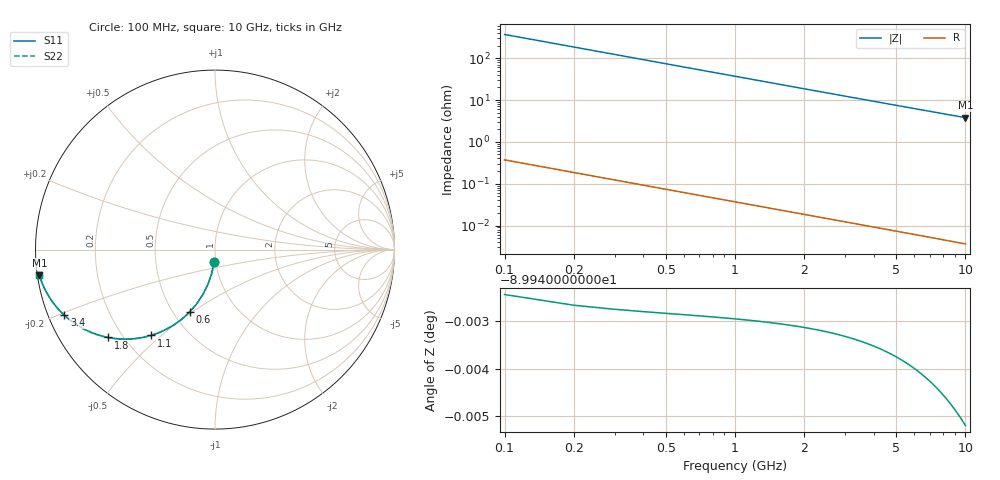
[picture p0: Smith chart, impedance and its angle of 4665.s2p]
# Hz S RI R 50.00
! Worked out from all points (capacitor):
!   100 points, 100 MHz to 10 GHz, reference 50 ohm
!   read as one part in shunt: C = 4.31 pF near 100 MHz
!   lowest |Z| = 3.79 ohm at 10 GHz (marker M1)
!   S11 on the Smith chart (normalised r, x): 100 MHz: 0.98, -0.13; 600 MHz: 0.60, -0.49; 1.1 GHz: 0.31, -0.46; 1.8 GHz: 0.15, -0.35; 3.4 GHz: 0.05, -0.21; 10 GHz: 0.01, -0.07
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1e8  -0.00463 -0.0674  0.9954 -0.0675  0.9954 -0.0675  -0.00463 -0.0674
2e8  -0.0182 -0.133  0.9818 -0.1331  0.9818 -0.1331  -0.0182 -0.133
3e8  -0.0398 -0.195  0.9602 -0.1952  0.9602 -0.1952  -0.0398 -0.195
4e8  -0.0686 -0.2522  0.9314 -0.2524  0.9314 -0.2524  -0.0686 -0.2522
5e8  -0.1031 -0.3035  0.8969 -0.3037  0.8969 -0.3037  -0.1031 -0.3035
6e8  -0.1419 -0.3483  0.8581 -0.3486  0.8581 -0.3486  -0.1419 -0.3483
7e8  -0.1836 -0.3865  0.8164 -0.3869  0.8164 -0.3869  -0.1836 -0.3865
8e8  -0.2269 -0.4181  0.7731 -0.4186  0.7731 -0.4186  -0.2269 -0.4181
9e8  -0.2707 -0.4436  0.7292 -0.4441  0.7292 -0.4441  -0.2707 -0.4436
1.1e9  -0.3564 -0.4782  0.6435 -0.4787  0.6435 -0.4787  -0.3564 -0.4782
1.4e9  -0.4724 -0.4984  0.5276 -0.4991  0.5276 -0.4991  -0.4724 -0.4984
1.6e9  -0.5388 -0.4976  0.4612 -0.4984  0.4612 -0.4984  -0.5388 -0.4976
1.8e9  -0.5962 -0.4897  0.4037 -0.4906  0.4037 -0.4906  -0.5962 -0.4897
2.1e9  -0.6674 -0.4701  0.3326 -0.4712  0.3326 -0.4712  -0.6674 -0.4701
2.5e9  -0.7394 -0.4378  0.2606 -0.4391  0.2606 -0.4391  -0.7394 -0.4378
2.9e9  -0.7921 -0.4045  0.2078 -0.406  0.2078 -0.406  -0.7921 -0.4045
3.4e9  -0.8394 -0.3658  0.1606 -0.3676  0.1606 -0.3676  -0.8394 -0.3658
4.2e9  -0.8883 -0.3134  0.1117 -0.3156  0.1117 -0.3156  -0.8883 -0.3134
5.1e9  -0.9212 -0.2675  0.0788 -0.2703  0.0788 -0.2703  -0.9212 -0.2675
6.7e9  -0.9526 -0.2101  0.0473 -0.2137  0.0473 -0.2137  -0.9526 -0.2101
8.4e9  -0.9693 -0.1697  0.0307 -0.1742  0.0307 -0.1742  -0.9693 -0.1697
1e10  -0.9781 -0.1429  0.0218 -0.1484  0.0218 -0.1484  -0.9781 -0.1429
